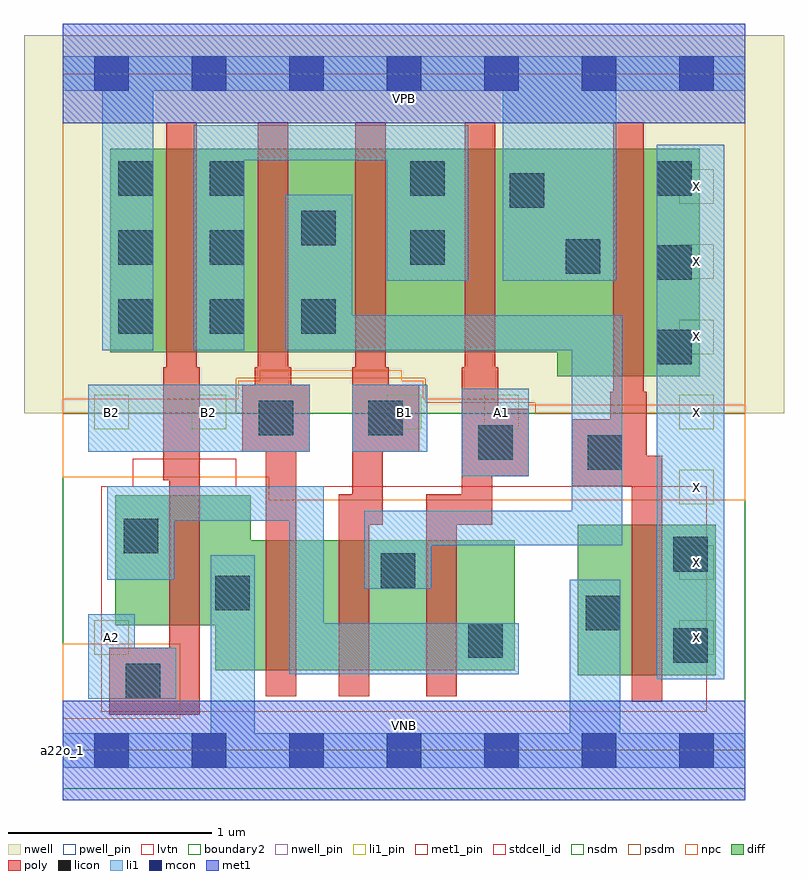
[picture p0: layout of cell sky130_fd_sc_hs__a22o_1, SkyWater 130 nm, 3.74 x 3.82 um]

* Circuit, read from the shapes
.subckt sky130_fd_sc_hs__a22o_1 A1 A2 B1 B2 VGND VNB VPB VPWR X
XM1 VGND A2 n1 VNB sky130_fd_pr__nfet_01v8_lvt w=0.64 l=0.15
XM2 n2 B2 VGND VNB sky130_fd_pr__nfet_01v8_lvt w=0.64 l=0.15
XM3 n3 B1 n2 VNB sky130_fd_pr__nfet_01v8_lvt w=0.64 l=0.15
XM4 n1 A1 n3 VNB sky130_fd_pr__nfet_01v8_lvt w=0.64 l=0.15
XM5 X n3 VGND VNB sky130_fd_pr__nfet_01v8_lvt w=0.74 l=0.15
XM6 n4 A2 VPWR VPB sky130_fd_pr__pfet_01v8 w=1 l=0.15
XM7 n3 B2 n4 VPB sky130_fd_pr__pfet_01v8 w=1 l=0.15
XM8 n4 B1 n3 VPB sky130_fd_pr__pfet_01v8 w=1 l=0.15
XM9 VPWR A1 n4 VPB sky130_fd_pr__pfet_01v8 w=1 l=0.15
XM10 X n3 VPWR VPB sky130_fd_pr__pfet_01v8 w=1.12 l=0.15
.ends

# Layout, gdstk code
import gdstk
lib = gdstk.Library(unit=1e-6, precision=1e-09)
def R(c, l, rs):  # rectangles x0, y0, x1, y1
    for r in rs: c.add(gdstk.rectangle(r[:2], r[2:], *l))
def A(c, l, x, y, w, h, nx, ny, dx, dy):  # array of equal rectangles
    R(c, l, [(x+i*dx, y+j*dy, x+i*dx+w, y+j*dy+h) for i in range(nx) for j in range(ny)])
def P(c, l, *ps):  # polygons
    for p in ps: c.add(gdstk.Polygon(p, *l))
nwell_pin = (64, 16)
nwell = (64, 20)
diff = (65, 20)
poly = (66, 20)
licon = (66, 44)
li1_pin = (67, 16)
li1 = (67, 20)
mcon = (67, 44)
met1_pin = (68, 16)
met1 = (68, 20)
stdcell_id = (81, 4)
nsdm = (93, 44)
psdm = (94, 20)
npc = (95, 20)
pwell_pin = (122, 16)
lvtn = (125, 44)
boundary2 = (236, 0)

sky130_fd_sc_hs__a22o_1 = lib.new_cell('sky130_fd_sc_hs__a22o_1')
R(sky130_fd_sc_hs__a22o_1, nwell_pin, [(0,3.085,3.36,3.33)])
R(sky130_fd_sc_hs__a22o_1, nwell, [(-0.19,1.66,3.55,3.52)])
R(sky130_fd_sc_hs__a22o_1, diff, [(2.535,0.37,3.215,1.11)])
P(sky130_fd_sc_hs__a22o_1, diff, [(2.225,1.035),(0.925,1.035),(0.925,1.255),(0.26,1.255),(0.26,0.615),(0.75,0.615),(0.75,0.395),(2.225,0.395)],
  [(3.135,2.96),(0.235,2.96),(0.235,1.96),(2.435,1.96),(2.435,1.84),(3.135,1.84)])
P(sky130_fd_sc_hs__a22o_1, poly, [(2.95,1.45),(2.875,1.45),(2.875,1.765),(2.86,1.765),(2.86,3.09),(2.71,3.09),(2.71,1.765),(2.695,1.765),(2.695,1.63),(2.505,1.63),(2.505,1.3),(2.8,1.3),(2.8,0.24),(2.95,0.24)],
  [(2.295,1.68),(2.145,1.68),(2.145,1.885),(2.13,1.885),(2.13,3.09),(1.98,3.09),(1.98,1.885),(1.965,1.885),(1.965,1.26),(1.79,1.26),(1.79,0.265),(1.94,0.265),(1.94,1.11),(2.115,1.11),(2.115,1.35),(2.295,1.35)],
  [(1.755,1.8),(1.605,1.8),(1.605,1.885),(1.59,1.885),(1.59,3.09),(1.44,3.09),(1.44,1.885),(1.425,1.885),(1.425,1.26),(1.36,1.26),(1.36,0.265),(1.51,0.265),(1.51,1.11),(1.575,1.11),(1.575,1.47),(1.755,1.47)],
  [(1.215,1.8),(1.125,1.8),(1.125,1.885),(1.11,1.885),(1.11,3.09),(0.96,3.09),(0.96,1.885),(0.945,1.885),(0.945,1.8),(0.885,1.8),(0.885,1.47),(1,1.47),(1,0.265),(1.15,0.265),(1.15,1.47),(1.215,1.47)],
  [(0.675,1.885),(0.66,1.885),(0.66,3.09),(0.51,3.09),(0.51,1.885),(0.495,1.885),(0.495,1.33),(0.525,1.33),(0.525,0.505),(0.23,0.505),(0.23,0.175),(0.675,0.175)])
A(sky130_fd_sc_hs__a22o_1, licon, 2.925, 1.9, 0.17, 0.17, 1, 3, 0, 0.415)
A(sky130_fd_sc_hs__a22o_1, licon, 0.275, 2.05, 0.17, 0.17, 3, 1, 0.45, 0)
R(sky130_fd_sc_hs__a22o_1, licon, [(0.31,0.255,0.48,0.425), (3.005,0.43,3.175,0.6), (1.995,0.455,2.165,0.625), (2.575,0.59,2.745,0.76), (0.75,0.69,0.92,0.86), (1.565,0.8,1.735,0.97), (3.005,0.88,3.175,1.05), (0.3,0.97,0.47,1.14), (2.585,1.38,2.755,1.55), (2.045,1.43,2.215,1.6), (0.965,1.55,1.135,1.72), (1.505,1.55,1.675,1.72), (2.475,2.345,2.645,2.515), (0.275,2.39,0.445,2.56), (0.725,2.39,0.895,2.56), (1.71,2.39,1.88,2.56), (1.175,2.485,1.345,2.655), (2.2,2.67,2.37,2.84), (0.275,2.73,0.445,2.9), (0.725,2.73,0.895,2.9), (1.71,2.73,1.88,2.9)])
A(sky130_fd_sc_hs__a22o_1, li1_pin, 3.035, 0.47, 0.17, 0.17, 1, 7, 0, 0.37)
R(sky130_fd_sc_hs__a22o_1, li1_pin, [(0.155,0.47,0.325,0.64), (0.155,1.58,0.325,1.75), (0.635,1.58,0.805,1.75), (1.595,1.58,1.765,1.75), (2.075,1.58,2.245,1.75)])
R(sky130_fd_sc_hs__a22o_1, li1, [(2.925,0.35,3.255,2.98), (1.965,1.35,2.295,1.78), (0.125,1.47,1.215,1.8), (1.425,1.47,1.795,1.8)])
P(sky130_fd_sc_hs__a22o_1, li1, [(0.195,1.97),(0.195,3.245),(0,3.245),(0,3.415),(3.36,3.415),(3.36,3.245),(2.725,3.245),(2.725,2.31),(2.165,2.31),(2.165,3.245),(0.445,3.245),(0.445,1.97)],
  [(2.495,0.085),(2.495,0.84),(2.745,0.84),(2.745,0.085),(3.36,0.085),(3.36,-0.085),(0,-0.085),(0,0.085),(0.73,0.085),(0.73,0.96),(0.945,0.96),(0.945,0.085)],
  [(2.755,1.01),(1.815,1.01),(1.815,0.795),(1.485,0.795),(1.485,1.18),(2.505,1.18),(2.505,1.97),(1.095,1.97),(1.095,2.735),(1.425,2.735),(1.425,2.14),(2.755,2.14)],
  [(0.125,0.255),(0.125,0.67),(0.355,0.67),(0.355,0.505),(0.56,0.505),(0.56,0.255)],
  [(1.285,1.3),(1.285,0.625),(2.245,0.625),(2.245,0.375),(1.115,0.375),(1.115,1.13),(0.55,1.13),(0.55,0.84),(0.22,0.84),(0.22,1.3)],
  [(1.595,2.31),(1.595,2.905),(0.895,2.905),(0.895,1.97),(0.645,1.97),(0.645,3.075),(1.995,3.075),(1.995,2.31)])
A(sky130_fd_sc_hs__a22o_1, mcon, 0.155, -0.085, 0.17, 0.17, 7, 2, 0.48, 3.33)
R(sky130_fd_sc_hs__a22o_1, met1_pin, [(0,0,3.36,0.245), (0,3.085,3.36,3.33)])
R(sky130_fd_sc_hs__a22o_1, met1, [(0,-0.245,3.36,0.245), (0,3.085,3.36,3.575)])
R(sky130_fd_sc_hs__a22o_1, stdcell_id, [(0,0,3.36,3.33)])
R(sky130_fd_sc_hs__a22o_1, nsdm, [(0,-0.19,3.36,1.66)])
P(sky130_fd_sc_hs__a22o_1, psdm, [(3.36,3.52),(0,3.52),(0,1.66),(0.855,1.66),(0.855,1.83),(1.785,1.83),(1.785,1.71),(2.325,1.71),(2.325,1.66),(3.36,1.66)])
R(sky130_fd_sc_hs__a22o_1, npc, [(0,0.155,0.58,0.525)])
P(sky130_fd_sc_hs__a22o_1, npc, [(3.36,1.7),(2.295,1.7),(2.295,1.73),(1.775,1.73),(1.775,1.82),(1.67,1.82),(1.67,1.87),(0.97,1.87),(0.97,1.82),(0.865,1.82),(0.865,1.73),(0,1.73),(0,1.345),(1.015,1.345),(1.015,1.23),(3.36,1.23)])
R(sky130_fd_sc_hs__a22o_1, pwell_pin, [(0,0,3.36,0.245)])
P(sky130_fd_sc_hs__a22o_1, lvtn, [(3.17,1.3),(0.855,1.3),(0.855,1.435),(0.345,1.435),(0.345,1.3),(0.19,1.3),(0.19,0.19),(3.17,0.19)])
R(sky130_fd_sc_hs__a22o_1, boundary2, [(0,0,3.36,3.33)])
sky130_fd_sc_hs__a22o_1.add(gdstk.Label('a22o_1', (0,0), layer=83, texttype=44))
sky130_fd_sc_hs__a22o_1.add(gdstk.Label('VNB', (1.68,0.123), layer=64, texttype=59))
sky130_fd_sc_hs__a22o_1.add(gdstk.Label('VPB', (1.68,3.208), layer=64, texttype=5))
sky130_fd_sc_hs__a22o_1.add(gdstk.Label('VPWR', (1.68,3.208), layer=68, texttype=5))
sky130_fd_sc_hs__a22o_1.add(gdstk.Label('VGND', (1.68,0.123), layer=68, texttype=5))
sky130_fd_sc_hs__a22o_1.add(gdstk.Label('X', (3.12,0.555), layer=67, texttype=5))
sky130_fd_sc_hs__a22o_1.add(gdstk.Label('X', (3.12,0.925), layer=67, texttype=5))
sky130_fd_sc_hs__a22o_1.add(gdstk.Label('X', (3.12,1.295), layer=67, texttype=5))
sky130_fd_sc_hs__a22o_1.add(gdstk.Label('X', (3.12,1.665), layer=67, texttype=5))
sky130_fd_sc_hs__a22o_1.add(gdstk.Label('X', (3.12,2.035), layer=67, texttype=5))
sky130_fd_sc_hs__a22o_1.add(gdstk.Label('X', (3.12,2.405), layer=67, texttype=5))
sky130_fd_sc_hs__a22o_1.add(gdstk.Label('X', (3.12,2.775), layer=67, texttype=5))
sky130_fd_sc_hs__a22o_1.add(gdstk.Label('B2', (0.24,1.665), layer=67, texttype=5))
sky130_fd_sc_hs__a22o_1.add(gdstk.Label('B2', (0.72,1.665), layer=67, texttype=5))
sky130_fd_sc_hs__a22o_1.add(gdstk.Label('B1', (1.68,1.665), layer=67, texttype=5))
sky130_fd_sc_hs__a22o_1.add(gdstk.Label('A2', (0.24,0.555), layer=67, texttype=5))
sky130_fd_sc_hs__a22o_1.add(gdstk.Label('A1', (2.16,1.665), layer=67, texttype=5))

lib.write_gds('sky130_fd_sc_hs__a22o_1.gds')
